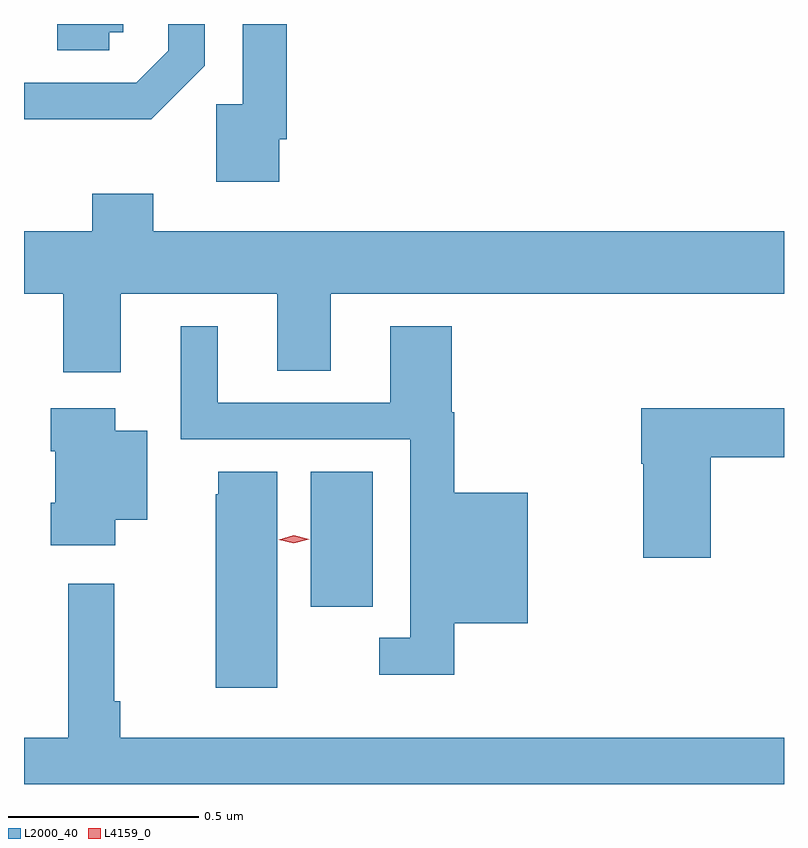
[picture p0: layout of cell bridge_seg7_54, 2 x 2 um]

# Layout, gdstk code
import gdstk
lib = gdstk.Library(unit=1e-6, precision=1e-09)
def R(c, l, rs):  # rectangles x0, y0, x1, y1
    for r in rs: c.add(gdstk.rectangle(r[:2], r[2:], *l))
def P(c, l, *ps):  # polygons
    for p in ps: c.add(gdstk.Polygon(p, *l))
L2000_40 = (2000, 40)
L4159_0 = (4159, 0)

bridge_seg7_54 = lib.new_cell('bridge_seg7_54')
R(bridge_seg7_54, L2000_40, [(922.37,1018.44,922.534,1018.796)])
P(bridge_seg7_54, L2000_40, [(922.092,1019.864),(922.092,1019.974),(921.996,1019.974),(921.996,1019.904),(921.912,1019.82),(921.616,1019.82),(921.616,1019.723),(921.951,1019.723)],
  [(921.84,1019.952),(921.877,1019.952),(921.877,1019.974),(921.704,1019.974),(921.704,1019.905),(921.84,1019.905)],
  [(922.288,1019.671),(922.307,1019.671),(922.307,1019.974),(922.191,1019.974),(922.191,1019.763),(922.122,1019.763),(922.122,1019.559),(922.288,1019.559)],
  [(921.871,1019.264),(922.283,1019.264),(922.283,1019.062),(922.423,1019.062),(922.423,1019.264),(923.616,1019.264),(923.616,1019.428),(921.956,1019.428),(921.956,1019.527),(921.796,1019.527),(921.796,1019.428),(921.616,1019.428),(921.616,1019.264),(921.719,1019.264),(921.719,1019.058),(921.871,1019.058)],
  [(922.748,1018.397),(922.942,1018.397),(922.942,1018.741),(922.748,1018.741),(922.748,1018.952),(922.742,1018.952),(922.742,1019.179),(922.58,1019.179),(922.58,1018.977),(922.126,1018.977),(922.126,1019.179),(922.028,1019.179),(922.028,1018.881),(922.632,1018.881),(922.632,1018.359),(922.551,1018.359),(922.551,1018.262),(922.748,1018.262)],
  [(923.423,1018.834),(923.616,1018.834),(923.616,1018.963),(923.24,1018.963),(923.24,1018.817),(923.245,1018.817),(923.245,1018.569),(923.423,1018.569)],
  [(921.856,1018.67),(921.94,1018.67),(921.94,1018.903),(921.856,1018.903),(921.856,1018.963),(921.686,1018.963),(921.686,1018.85),(921.698,1018.85),(921.698,1018.714),(921.686,1018.714),(921.686,1018.602),(921.856,1018.602)],
  [(922.282,1018.796),(922.127,1018.796),(922.127,1018.737),(922.121,1018.737),(922.121,1018.227),(922.282,1018.227)],
  [(923.616,1018.096),(921.869,1018.096),(921.869,1018.192),(921.854,1018.192),(921.854,1018.501),(921.733,1018.501),(921.733,1018.096),(921.616,1018.096),(921.616,1017.974),(923.616,1017.974)])
P(bridge_seg7_54, L4159_0, [(922.326,1018.608),(922.286,1018.617),(922.286,1018.617),(922.286,1018.617),(922.326,1018.628),(922.367,1018.618),(922.367,1018.618),(922.367,1018.618)])

lib.write_gds('bridge_seg7_54.gds')
